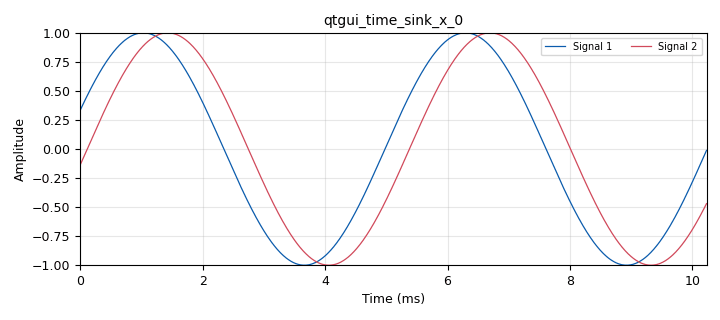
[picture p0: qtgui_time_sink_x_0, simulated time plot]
options:
  parameters:
    generate_options: qt_gui
    id: test_numbersink
    output_language: python
    title: Not titled yet
  states: {}

blocks:
- name: samp_rate
  id: variable
  parameters:
    value: '100000'
  states: {}
- name: analog_sig_source_x_0
  id: analog_sig_source_x
  parameters:
    amp: '1'
    freq: '190'
    offset: '0'
    phase: '0'
    samp_rate: samp_rate
    type: float
    waveform: analog.GR_SIN_WAVE
  states: {}
- name: blocks_delay_0
  id: blocks_delay
  parameters:
    delay: '40'
    type: float
  states: {}
- name: blocks_throttle_0
  id: blocks_throttle
  parameters:
    samples_per_second: samp_rate
    type: float
  states: {}
- name: qtgui_number_sink_0
  id: qtgui_number_sink
  parameters:
    avg: '1'
    graph_type: qtgui.NUM_GRAPH_HORIZ
    max: '2'
    min: '-2'
    name: Amplitud
    type: float
  states: {}
- name: qtgui_time_sink_x_0
  id: qtgui_time_sink_x
  parameters:
    nconnections: '2'
    size: '1024'
    srate: samp_rate
    type: float
  states: {}

connections:
- [analog_sig_source_x_0, '0', blocks_delay_0, '0']
- [analog_sig_source_x_0, '0', blocks_throttle_0, '0']
- [blocks_delay_0, '0', qtgui_time_sink_x_0, '1']
- [blocks_throttle_0, '0', qtgui_number_sink_0, '0']
- [blocks_throttle_0, '0', qtgui_time_sink_x_0, '0']

metadata:
  file_format: 1
  grc_version: 3.10.4.0
